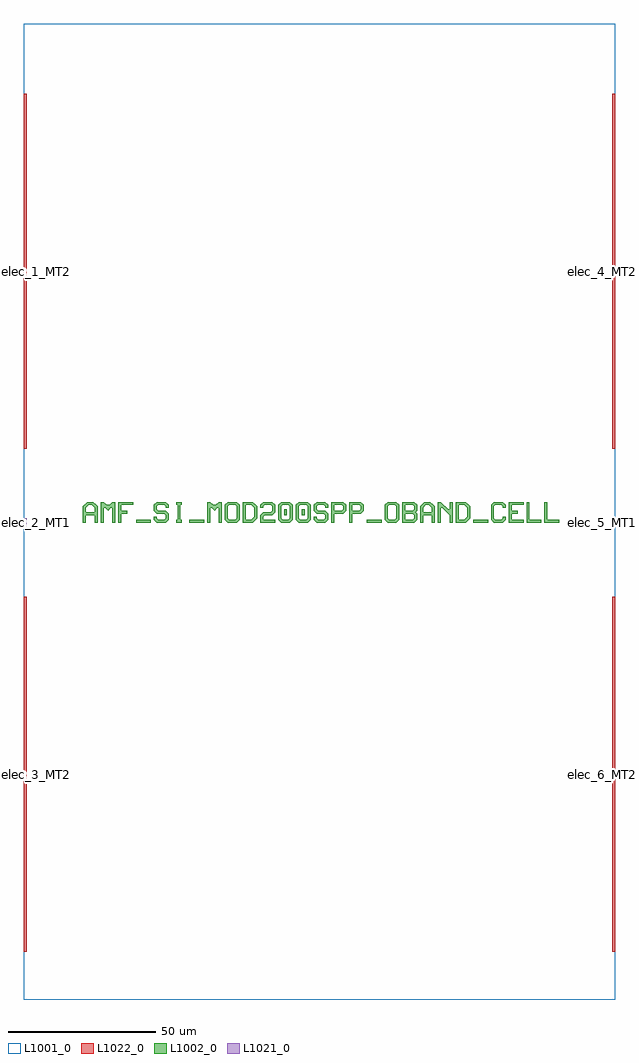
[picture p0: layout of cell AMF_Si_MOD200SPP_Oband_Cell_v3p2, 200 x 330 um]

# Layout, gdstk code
import gdstk
lib = gdstk.Library(unit=1e-6, precision=1e-09)
def R(c, l, rs):  # rectangles x0, y0, x1, y1
    for r in rs: c.add(gdstk.rectangle(r[:2], r[2:], *l))
def P(c, l, *ps):  # polygons
    for p in ps: c.add(gdstk.Polygon(p, *l))
L1001_0 = (1001, 0)
L1002_0 = (1002, 0)
L1021_0 = (1021, 0)
L1022_0 = (1022, 0)

amf_si_mod200spp_oband_c = lib.new_cell('AMF_Si_MOD200SPP_Oband_Cell_v3p2')
R(amf_si_mod200spp_oband_c, L1001_0, [(0,-161.2,200,168.8)])
R(amf_si_mod200spp_oband_c, L1002_0, [(38,0,43,1), (56,0,61,1), (116,0,121,1), (152,0,157,1), (88,2.5,89,4.5), (94,2.5,95,4.5)])
P(amf_si_mod200spp_oband_c, L1002_0, [(20,0),(20,5.5),(21.5,7),(23.5,7),(24.5,6),(22,6),(21,5),(21,3.5),(24,3.5),(24,5),(23,6),(24.5,6),(25,5.5),(25,0),(24,0),(24,2.5),(21,2.5),(21,0)],
  [(26,0),(26,7),(27,7),(28,6),(29,6),(30,7),(31,7),(31,0),(30,0),(30,5),(29.5,5),(28.5,4),(27.5,5),(27,5),(27,0)],
  [(32,0),(32,7),(37,7),(37,6),(33,6),(33,4),(35,4),(35,3),(33,3),(33,0)],
  [(45,0),(44,1),(44,2),(45,2),(45,1.5),(45.5,1),(47.5,1),(48,1.5),(48,2.5),(47.5,3),(45,3),(44,4),(44,6),(45,7),(48,7),(49,6),(49,5),(48,5),(48,5.5),(47.5,6),(45.5,6),(45,5.5),(45,4.5),(45.5,4),(48,4),(49,3),(49,1),(48,0)],
  [(51.5,0),(51.5,1),(52,1),(52,6),(51.5,6),(51.5,7),(53.5,7),(53.5,6),(53,6),(53,1),(53.5,1),(53.5,0)],
  [(62,0),(62,7),(63,7),(64,6),(65,6),(66,7),(67,7),(67,0),(66,0),(66,5),(65.5,5),(64.5,4),(63.5,5),(63,5),(63,0)],
  [(69,0),(68,1),(68,6),(69,7),(72,7),(73,6),(73,3.5),(72,3.5),(72,5.5),(71.5,6),(69.5,6),(69,5.5),(69,1.5),(69.5,1),(71.5,1),(72,1.5),(72,3.5),(73,3.5),(73,1),(72,0)],
  [(74,0),(74,7),(77.5,7),(78.5,6),(75,6),(75,1),(77,1),(78,2),(78,5),(77,6),(78.5,6),(79,5.5),(79,1.5),(77.5,0)],
  [(80,0),(80,2.5),(81,3.5),(83.5,3.5),(84,4),(84,5.5),(83.5,6),(81.5,6),(81,5.5),(81,5),(80,5),(80,6),(81,7),(84,7),(85,6),(85,3.5),(84,2.5),(81.5,2.5),(81,2),(81,1),(85,1),(85,0)],
  [(87,0),(86,1),(86,6),(87,7),(90,7),(91,6),(87.5,6),(87,5.5),(87,1.5),(87.5,1),(89.5,1),(90,1.5),(90,5.5),(89.5,6),(91,6),(91,1),(90,0)],
  [(93,0),(92,1),(92,6),(93,7),(96,7),(97,6),(93.5,6),(93,5.5),(93,1.5),(93.5,1),(95.5,1),(96,1.5),(96,5.5),(95.5,6),(97,6),(97,1),(96,0)],
  [(99,0),(98,1),(98,2),(99,2),(99,1.5),(99.5,1),(101.5,1),(102,1.5),(102,2.5),(101.5,3),(99,3),(98,4),(98,6),(99,7),(102,7),(103,6),(103,5),(102,5),(102,5.5),(101.5,6),(99.5,6),(99,5.5),(99,4.5),(99.5,4),(102,4),(103,3),(103,1),(102,0)],
  [(104,0),(104,7),(108,7),(109,6),(109,4),(108,3),(105,3),(105,4),(107.5,4),(108,4.5),(108,5.5),(107.5,6),(105,6),(105,0)],
  [(110,0),(110,7),(114,7),(115,6),(115,4),(114,3),(111,3),(111,4),(113.5,4),(114,4.5),(114,5.5),(113.5,6),(111,6),(111,0)],
  [(123,0),(122,1),(122,6),(123,7),(126,7),(127,6),(127,3.5),(126,3.5),(126,5.5),(125.5,6),(123.5,6),(123,5.5),(123,1.5),(123.5,1),(125.5,1),(126,1.5),(126,3.5),(127,3.5),(127,1),(126,0)],
  [(128,0),(128,7),(132,7),(133,6),(129,6),(129,4),(131.5,4),(132,4.5),(132,5.5),(131.5,6),(133,6),(133,4),(132.5,3.5),(133,3),(129,3),(129,1),(131.5,1),(132,1.5),(132,2.5),(131.5,3),(133,3),(133,1),(132,0)],
  [(134,0),(134,5.5),(135.5,7),(137.5,7),(138.5,6),(136,6),(135,5),(135,3.5),(138,3.5),(138,5),(137,6),(138.5,6),(139,5.5),(139,0),(138,0),(138,2.5),(135,2.5),(135,0)],
  [(140,0),(140,7),(141,7),(143.5,4.5),(144,4.5),(144,7),(145,7),(145,0),(144,0),(144,2.5),(141.5,5),(141,5),(141,0)],
  [(146,0),(146,7),(149.5,7),(150.5,6),(147,6),(147,1),(149,1),(150,2),(150,5),(149,6),(150.5,6),(151,5.5),(151,1.5),(149.5,0)],
  [(159,0),(158,1),(158,6),(159,7),(162,7),(163,6),(163,5),(162,5),(162,5.5),(161.5,6),(159.5,6),(159,5.5),(159,1.5),(159.5,1),(161.5,1),(162,1.5),(162,2),(163,2),(163,1),(162,0)],
  [(164,0),(164,7),(169,7),(169,6),(165,6),(165,4),(167,4),(167,3),(165,3),(165,1),(169,1),(169,0)],
  [(170,0),(170,7),(171,7),(171,1),(175,1),(175,0)],
  [(176,0),(176,7),(177,7),(177,1),(181,1),(181,0)])
R(amf_si_mod200spp_oband_c, L1021_0, [(0,-1.5,1,1.5), (199,-1.5,200,1.5)])
R(amf_si_mod200spp_oband_c, L1022_0, [(0,-145,1,-25), (199,-145,200,-25), (0,25,1,145), (199,25,200,145)])
amf_si_mod200spp_oband_c.add(gdstk.Label('elec_4_MT2', (200,85), layer=1022, texttype=0))
amf_si_mod200spp_oband_c.add(gdstk.Label('elec_6_MT2', (200,-85), layer=1022, texttype=0))
amf_si_mod200spp_oband_c.add(gdstk.Label('elec_1_MT2', (0,85), layer=1022, texttype=0))
amf_si_mod200spp_oband_c.add(gdstk.Label('elec_3_MT2', (0,-85), layer=1022, texttype=0))
amf_si_mod200spp_oband_c.add(gdstk.Label('elec_5_MT1', (200,0), layer=1021, texttype=0))
amf_si_mod200spp_oband_c.add(gdstk.Label('elec_2_MT1', (0,0), layer=1021, texttype=0))

lib.write_gds('AMF_Si_MOD200SPP_Oband_Cell_v3p2.gds')
